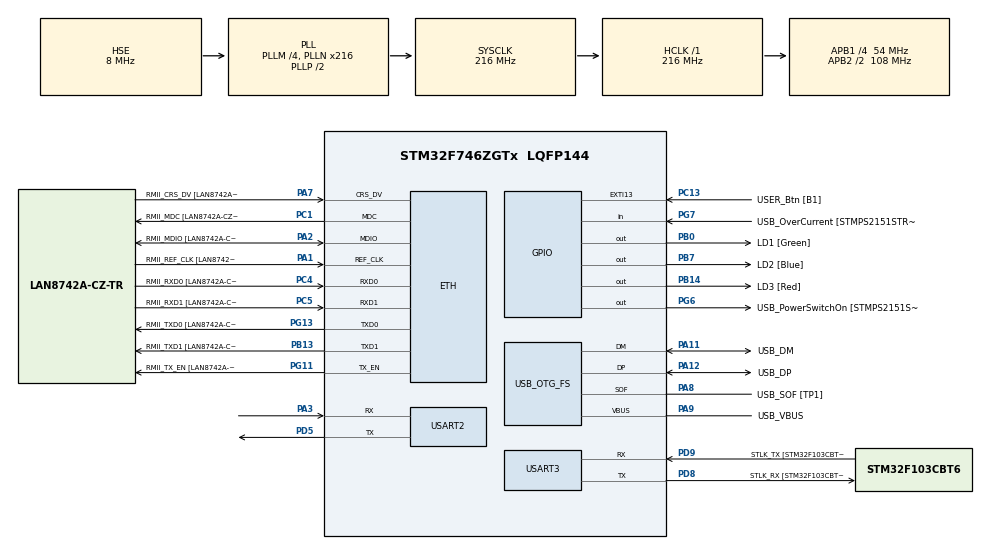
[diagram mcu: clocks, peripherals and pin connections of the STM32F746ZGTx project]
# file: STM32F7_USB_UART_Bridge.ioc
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Dma.Request0=USART2_RX
Dma.Request1=USART2_TX
Dma.Request2=USART3_RX
Dma.Request3=USART3_TX
Dma.USART2_RX.0.Direction=DMA_PERIPH_TO_MEMORY
Dma.USART2_RX.0.FIFOMode=DMA_FIFOMODE_DISABLE
Dma.USART2_RX.0.Instance=DMA1_Stream5
Dma.USART2_RX.0.MemDataAlignment=DMA_MDATAALIGN_BYTE
Dma.USART2_RX.0.MemInc=DMA_MINC_ENABLE
Dma.USART2_RX.0.Mode=DMA_NORMAL
Dma.USART2_RX.0.PeriphDataAlignment=DMA_PDATAALIGN_BYTE
Dma.USART2_RX.0.PeriphInc=DMA_PINC_DISABLE
Dma.USART2_RX.0.Priority=DMA_PRIORITY_LOW
Dma.USART2_TX.1.Direction=DMA_MEMORY_TO_PERIPH
Dma.USART2_TX.1.FIFOMode=DMA_FIFOMODE_DISABLE
Dma.USART2_TX.1.Instance=DMA1_Stream6
Dma.USART2_TX.1.MemDataAlignment=DMA_MDATAALIGN_BYTE
Dma.USART2_TX.1.MemInc=DMA_MINC_ENABLE
Dma.USART2_TX.1.Mode=DMA_NORMAL
Dma.USART2_TX.1.PeriphDataAlignment=DMA_PDATAALIGN_BYTE
Dma.USART2_TX.1.PeriphInc=DMA_PINC_DISABLE
Dma.USART2_TX.1.Priority=DMA_PRIORITY_LOW
Dma.USART3_RX.2.Direction=DMA_PERIPH_TO_MEMORY
Dma.USART3_RX.2.FIFOMode=DMA_FIFOMODE_DISABLE
Dma.USART3_RX.2.Instance=DMA1_Stream1
Dma.USART3_RX.2.MemDataAlignment=DMA_MDATAALIGN_BYTE
Dma.USART3_RX.2.MemInc=DMA_MINC_ENABLE
Dma.USART3_RX.2.Mode=DMA_NORMAL
Dma.USART3_RX.2.PeriphDataAlignment=DMA_PDATAALIGN_BYTE
Dma.USART3_RX.2.PeriphInc=DMA_PINC_DISABLE
Dma.USART3_RX.2.Priority=DMA_PRIORITY_LOW
Dma.USART3_TX.3.Direction=DMA_MEMORY_TO_PERIPH
Dma.USART3_TX.3.FIFOMode=DMA_FIFOMODE_DISABLE
Dma.USART3_TX.3.Instance=DMA1_Stream3
Dma.USART3_TX.3.MemDataAlignment=DMA_MDATAALIGN_BYTE
Dma.USART3_TX.3.MemInc=DMA_MINC_ENABLE
Dma.USART3_TX.3.Mode=DMA_NORMAL
Dma.USART3_TX.3.PeriphDataAlignment=DMA_PDATAALIGN_BYTE
Dma.USART3_TX.3.PeriphInc=DMA_PINC_DISABLE
Dma.USART3_TX.3.Priority=DMA_PRIORITY_LOW
ETH.MediaInterface=ETH_MEDIA_INTERFACE_RMII
ETH.PHY_Name=LAN8742A_PHY_ADDRESS
ETH.PHY_Name_RMII=LAN8742A_PHY_ADDRESS
ETH.PHY_Value=0
ETH.PhyAddress=0
ETH.RxMode=ETH_RXPOLLING_MODE
LWIP.LWIP_DHCP=1
LWIP.MEMP_NUM_TCP_PCB=4
LWIP.Version=v2.1.2_Cube
Mcu.Family=STM32F7
Mcu.Name=STM32F746ZGTx
Mcu.Package=LQFP144
NVIC.DMA1_Stream1_IRQn=true\:0\:0\:false\:false\:true\:false\:true
NVIC.DMA1_Stream3_IRQn=true\:0\:0\:false\:false\:true\:false\:true
NVIC.DMA1_Stream5_IRQn=true\:0\:0\:false\:false\:true\:false\:true
NVIC.DMA1_Stream6_IRQn=true\:0\:0\:false\:false\:true\:false\:true
NVIC.ETH_IRQn=true\:0\:0\:false\:false\:true\:true\:true
NVIC.ETH_WKUP_IRQn=true\:0\:0\:false\:false\:true\:true\:true
NVIC.EXTI15_10_IRQn=true\:0\:0\:false\:false\:true\:true\:true
NVIC.FPU_IRQn=true\:0\:0\:false\:false\:true\:true\:false
NVIC.OTG_FS_IRQn=true\:0\:0\:false\:false\:true\:false\:true
NVIC.PriorityGroup=NVIC_PRIORITYGROUP_4
NVIC.TIM8_TRG_COM_TIM14_IRQn=true\:0\:0\:false\:false\:true\:true\:true
NVIC.TIM8_UP_TIM13_IRQn=true\:0\:0\:false\:false\:true\:true\:true
NVIC.USART2_IRQn=true\:0\:0\:false\:false\:true\:true\:true
NVIC.USART3_IRQn=true\:0\:0\:false\:false\:true\:true\:true
PA1.GPIO_Label=RMII_REF_CLK [LAN8742A-CZ-TR_REFCLK0]
PA1.Mode=RMII
PA1.Signal=ETH_REF_CLK
PA10.GPIO_Label=USB_ID
PA10.Signal=USB_OTG_FS_ID
PA11.GPIO_Label=USB_DM
PA11.Mode=Device_Only
PA11.Signal=USB_OTG_FS_DM
PA12.GPIO_Label=USB_DP
PA12.Mode=Device_Only
PA12.Signal=USB_OTG_FS_DP
PA13.GPIO_Label=TMS
PA13.Mode=Serial_Wire
PA13.Signal=SYS_JTMS-SWDIO
PA14.GPIO_Label=TCK
PA14.Mode=Serial_Wire
PA14.Signal=SYS_JTCK-SWCLK
PA2.GPIO_Label=RMII_MDIO [LAN8742A-CZ-TR_MDIO]
PA2.Mode=RMII
PA2.Signal=ETH_MDIO
PA3.Mode=Asynchronous
PA3.Signal=USART2_RX
PA7.GPIO_Label=RMII_CRS_DV [LAN8742A-CZ-TR_CRS_DV]
PA7.Mode=RMII
PA7.Signal=ETH_CRS_DV
PA8.GPIO_Label=USB_SOF [TP1]
PA8.Mode=Activate_SOF_FS
PA8.Signal=USB_OTG_FS_SOF
PA9.GPIO_Label=USB_VBUS
PA9.Mode=Activate_VBUS
PA9.Signal=USB_OTG_FS_VBUS
PB0.GPIO_Label=LD1 [Green]
PB0.Signal=GPIO_Output
PB13.GPIO_Label=RMII_TXD1 [LAN8742A-CZ-TR_TXD1]
PB13.Mode=RMII
PB13.Signal=ETH_TXD1
PB14.GPIO_Label=LD3 [Red]
PB14.Signal=GPIO_Output
PB3.GPIO_Label=SW0
PB3.Signal=SYS_JTDO-SWO
PB7.GPIO_Label=LD2 [Blue]
PB7.Signal=GPIO_Output
PC1.GPIO_Label=RMII_MDC [LAN8742A-CZ-TR_MDC]
PC1.Mode=RMII
PC1.Signal=ETH_MDC
PC13.GPIO_Label=USER_Btn [B1]
PC13.Signal=GPXTI13
PC14/OSC32_IN.Mode=LSE-External-Oscillator
PC14/OSC32_IN.Signal=RCC_OSC32_IN
PC15/OSC32_OUT.Mode=LSE-External-Oscillator
PC15/OSC32_OUT.Signal=RCC_OSC32_OUT
PC4.GPIO_Label=RMII_RXD0 [LAN8742A-CZ-TR_RXD0]
PC4.Mode=RMII
PC4.Signal=ETH_RXD0
PC5.GPIO_Label=RMII_RXD1 [LAN8742A-CZ-TR_RXD1]
PC5.Mode=RMII
PC5.Signal=ETH_RXD1
PD5.Mode=Asynchronous
PD5.Signal=USART2_TX
PD8.GPIO_Label=STLK_RX [STM32F103CBT6_PA3]
PD8.Mode=Asynchronous
PD8.Signal=USART3_TX
PD9.GPIO_Label=STLK_TX [STM32F103CBT6_PA2]
PD9.Mode=Asynchronous
PD9.Signal=USART3_RX
PG11.GPIO_Label=RMII_TX_EN [LAN8742A-CZ-TR_TXEN]
PG11.Mode=RMII
PG11.Signal=ETH_TX_EN
PG13.GPIO_Label=RMII_TXD0 [LAN8742A-CZ-TR_TXD0]
PG13.Mode=RMII
PG13.Signal=ETH_TXD0
PG6.GPIO_Label=USB_PowerSwitchOn [STMPS2151STR_EN]
PG6.Signal=GPIO_Output
PG7.GPIO_Label=USB_OverCurrent [STMPS2151STR_FAULT]
PG7.Signal=GPIO_Input
PH0/OSC_IN.GPIO_Label=MCO [STM32F103CBT6_PA8]
PH0/OSC_IN.Mode=HSE-External-Clock-Source
PH0/OSC_IN.Signal=RCC_OSC_IN
PH1/OSC_OUT.Mode=HSE-External-Clock-Source
PH1/OSC_OUT.Signal=RCC_OSC_OUT
ProjectManager.HeapSize=0x200
ProjectManager.StackSize=0x400
ProjectManager.TargetToolchain=STM32CubeIDE
RCC.48MHZClocksFreq_Value=24000000
RCC.AHBFreq_Value=216000000
RCC.APB1CLKDivider=RCC_HCLK_DIV4
RCC.APB1Freq_Value=54000000
RCC.APB1TimFreq_Value=108000000
RCC.APB2CLKDivider=RCC_HCLK_DIV2
RCC.APB2Freq_Value=108000000
RCC.APB2TimFreq_Value=216000000
RCC.CortexFreq_Value=216000000
RCC.HCLKFreq_Value=216000000
RCC.HSE_VALUE=8000000
RCC.HSI_VALUE=16000000
RCC.PLLM=4
RCC.PLLMUL=RCC_PLL_MUL9
RCC.PLLN=216
RCC.PLLQ=9
RCC.PRESCALERUSB=RCC_USBCLKSOURCE_PLL_DIV1_5
RCC.SYSCLKFreq_VALUE=216000000
RCC.SYSCLKSource=RCC_SYSCLKSOURCE_PLLCLK
RCC.SYSCLKSourceVirtual=RCC_SYSCLKSOURCE_PLLCLK
RCC.USBFreq_Value=48000000
RCC.VCOOutputFreq_Value=432000000
TIM13.AutoReloadPreload=TIM_AUTORELOAD_PRELOAD_ENABLE
TIM14.AutoReloadPreload=TIM_AUTORELOAD_PRELOAD_ENABLE
USART2.VirtualMode-Asynchronous=VM_ASYNC
USART3.VirtualMode-Asynchronous=VM_ASYNC
USB_DEVICE.CLASS_NAME_FS=CDC
USB_DEVICE.MANUFACTURER_STRING-CDC_FS=VFF_UartBridge
USB_DEVICE.PRODUCT_STRING_CDC_FS=USB to UART Bridge
USB_DEVICE.VirtualMode-CDC_FS=Cdc
USB_DEVICE.VirtualModeFS=Cdc_FS
USB_OTG_FS.VirtualMode=Device_Only
VP_LWIP_VS_Enabled.Mode=Enabled
VP_TIM13_VS_ClockSourceINT.Mode=Enable_Timer
VP_TIM14_VS_ClockSourceINT.Mode=Enable_Timer
VP_USB_DEVICE_VS_USB_DEVICE_CDC_FS.Mode=CDC_FS
board=NUCLEO-F746ZG

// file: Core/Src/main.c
/* USER CODE BEGIN Header */
/**
  ******************************************************************************
  * @file           : main.c
  * @brief          : Main program body
  ******************************************************************************
  * @attention
  *
  * <h2><center>&copy; Copyright (c) 2020 STMicroelectronics.
  * All rights reserved.</center></h2>
  *
  * This software component is licensed by ST under BSD 3-Clause license,
  * the "License"; You may not use this file except in compliance with the
  * License. You may obtain a copy of the License at:
  *                        opensource.org/licenses/BSD-3-Clause
  *
  ******************************************************************************
  */
/* USER CODE END Header */
#include "main.h"
#include "dma.h"
#include "lwip.h"
#include "tim.h"
#include "usart.h"
#include "usb_device.h"
#include "gpio.h"
#include "usbd_cdc_if.h"

/* USER CODE BEGIN Includes */
#define APP_TX_DATA_SIZE 2048
#define APP_RX_DATA_SIZE 2048

extern uint8_t UserTxBufferFS[APP_TX_DATA_SIZE];
extern uint8_t UserDMABuffer[APP_TX_DATA_SIZE];
extern uint8_t UserRxBufferFS[APP_RX_DATA_SIZE];
extern USBD_HandleTypeDef hUsbDeviceFS;
/* USER CODE END Includes */

void SystemClock_Config(void);

int main(void)
{

  /* MCU Configuration--------------------------------------------------------*/

  /* Reset of all peripherals, Initializes the Flash interface and the Systick. */
  HAL_Init();

  /* Configure the system clock */
  SystemClock_Config();

  /* Initialize all configured peripherals */
  MX_GPIO_Init();
  MX_DMA_Init();
  MX_USART3_UART_Init();
  MX_USART2_UART_Init();
  MX_TIM13_Init();
  MX_TIM14_Init();
  MX_USB_DEVICE_Init();
  MX_LWIP_Init();
  /* USER CODE BEGIN 2 */
  uint32_t UserTxBufPtrIn;
  uint32_t UserTxBufPtrOut;

	uint32_t buffptr = 0;
	uint32_t buffsize = 0;
  /* USER CODE END 2 */

  /* Infinite loop */
  /* USER CODE BEGIN WHILE */
  while (1)
  {

		UserTxBufPtrIn = APP_TX_DATA_SIZE - huart2.hdmarx->Instance->NDTR;

		if(UserTxBufPtrOut != UserTxBufPtrIn) // Comprobamos que hay nuevos datos
		{
			/* Si por ejemplo User UserTxBufPtrOut = 2040 y llegan 10 bytes,  UserTxBufPtrIn pasa a ser = 2.
			 * Al darse la condición de que UserTxBufPtrOut > UserTxBufPtrIn, entonces se procesa la cadena
			 * hasta el final del buffer, siendo el tamaño a enviar los datos que quedan hasta el final del buffer
			 * : buffsize = APP_RX_DATA_SIZE - UserTxBufPtrOut = 8
			 * En el siguiente envío se enviarán los datos que se han almacenado durante el rollback y que aunque
			 * estén recibidos, no se han enviado.*/
		  if(UserTxBufPtrOut > UserTxBufPtrIn) /* Rollback */
		  {
			buffsize = APP_RX_DATA_SIZE - UserTxBufPtrOut;
		  }
		  else // si no hay roll back, se trabaja con los datos en el buffer
		  {
			buffsize = UserTxBufPtrIn - UserTxBufPtrOut;
		  }

		  buffptr = UserTxBufPtrOut;

		  USBD_CDC_SetTxBuffer(&hUsbDeviceFS, (uint8_t*)&UserDMABuffer[buffptr], buffsize);

		  if(USBD_CDC_TransmitPacket(&hUsbDeviceFS) == USBD_OK)
		  {
			UserTxBufPtrOut += buffsize;
			/* Si se llega al final del buffer como se desribe antes, se vuelve al punto 0 del mismo para
			 * continuar con la operación. En el siguiente envío, se enviará el resto de datos.*/
			if (UserTxBufPtrOut == APP_TX_DATA_SIZE)
			{
			  UserTxBufPtrOut = 0;
			}
		  }
		}
    /* USER CODE END WHILE */

  }
}

void SystemClock_Config(void)
{
  RCC_OscInitTypeDef RCC_OscInitStruct = {0};
  RCC_ClkInitTypeDef RCC_ClkInitStruct = {0};
  RCC_PeriphCLKInitTypeDef PeriphClkInitStruct = {0};

  /** Configure LSE Drive Capability
  */
  HAL_PWR_EnableBkUpAccess();
  /** Configure the main internal regulator output voltage
  */
  __HAL_RCC_PWR_CLK_ENABLE();
  __HAL_PWR_VOLTAGESCALING_CONFIG(PWR_REGULATOR_VOLTAGE_SCALE1);
  /** Initializes the RCC Oscillators according to the specified parameters
  * in the RCC_OscInitTypeDef structure.
  */
  RCC_OscInitStruct.OscillatorType = RCC_OSCILLATORTYPE_HSE;
  RCC_OscInitStruct.HSEState = RCC_HSE_BYPASS;
  RCC_OscInitStruct.PLL.PLLState = RCC_PLL_ON;
  RCC_OscInitStruct.PLL.PLLSource = RCC_PLLSOURCE_HSE;
  RCC_OscInitStruct.PLL.PLLM = 4;
  RCC_OscInitStruct.PLL.PLLN = 216;
  RCC_OscInitStruct.PLL.PLLP = RCC_PLLP_DIV2;
  RCC_OscInitStruct.PLL.PLLQ = 9;
  if (HAL_RCC_OscConfig(&RCC_OscInitStruct) != HAL_OK)
  {
    Error_Handler();
  }
  /** Activate the Over-Drive mode
  */
  if (HAL_PWREx_EnableOverDrive() != HAL_OK)
  {
    Error_Handler();
  }
  /** Initializes the CPU, AHB and APB buses clocks
  */
  RCC_ClkInitStruct.ClockType = RCC_CLOCKTYPE_HCLK|RCC_CLOCKTYPE_SYSCLK
                              |RCC_CLOCKTYPE_PCLK1|RCC_CLOCKTYPE_PCLK2;
  RCC_ClkInitStruct.SYSCLKSource = RCC_SYSCLKSOURCE_PLLCLK;
  RCC_ClkInitStruct.AHBCLKDivider = RCC_SYSCLK_DIV1;
  RCC_ClkInitStruct.APB1CLKDivider = RCC_HCLK_DIV4;
  RCC_ClkInitStruct.APB2CLKDivider = RCC_HCLK_DIV2;

  if (HAL_RCC_ClockConfig(&RCC_ClkInitStruct, FLASH_LATENCY_7) != HAL_OK)
  {
    Error_Handler();
  }
  PeriphClkInitStruct.PeriphClockSelection = RCC_PERIPHCLK_USART2|RCC_PERIPHCLK_USART3
                              |RCC_PERIPHCLK_CLK48;
  PeriphClkInitStruct.Usart2ClockSelection = RCC_USART2CLKSOURCE_PCLK1;
  PeriphClkInitStruct.Usart3ClockSelection = RCC_USART3CLKSOURCE_PCLK1;
  PeriphClkInitStruct.Clk48ClockSelection = RCC_CLK48SOURCE_PLL;
  if (HAL_RCCEx_PeriphCLKConfig(&PeriphClkInitStruct) != HAL_OK)
  {
    Error_Handler();
  }
}

void Error_Handler(void)
{
  __disable_irq();
  while (1)
  {
  }
}

/************************ (C) COPYRIGHT STMicroelectronics *****END OF FILE****/
